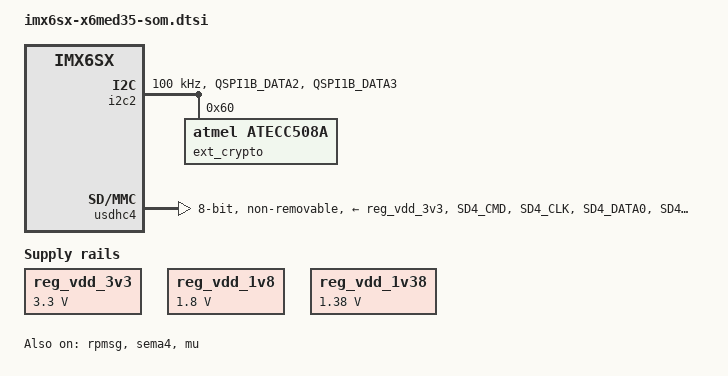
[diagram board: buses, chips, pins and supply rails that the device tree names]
// SPDX-License-Identifier: (GPL-2.0 OR MIT)
/*
 * Copyright (C) 2021 Shrirang Bagul <shrirang.bagul@canonical.com>
 */

/dts-v1/;

#include <dt-bindings/gpio/gpio.h>
#include <dt-bindings/input/input.h>
#include "imx6sx.dtsi"

/ {
	memory@80000000 {
		device_type = "memory";
		linux,usable-memory = <0x80000000 0x1ff00000>;
	};

	ocram_optee {
		compatible = "fsl,optee-lpm-sram";
		reg = <0x008f8000 0x4000>;
		overw_reg = <&ocram 0x00904000 0x1000>,
					<&ocram 0x00905000 0x1b000>,
					<&ocram_s 0x00900000 0x4000>;
		overw_clock = <&ocram_s &clks IMX6SX_CLK_OCRAM>;
	};

	pxp_v4l2_out {
		compatible = "fsl,imx6sx-pxp-v4l2", "fsl,imx6sl-pxp-v4l2";
		status = "okay";
	};

	reserved-memory {
		#address-cells = <1>;
		#size-cells = <1>;
		ranges;

		linux,cma {
			compatible = "shared-dma-pool";
			reusable;
			size = <0x8000000>;
			linux,cma-default;
		};

		m4_reserved {
			reg = <0x9ff00000 0x10000>;
			no-map;
		};

		rpmsg_reserved {
			reg = <0xbff00000 0x10000>;
			no-map;
		};
	};

	reg_vdd_3v3: regulator-vdd-3v3 {
		compatible = "regulator-fixed";
		regulator-always-on;
		regulator-name = "vdd_3v3";
		regulator-min-microvolt = <3300000>;
		regulator-max-microvolt = <3300000>;
	};

	reg_vdd_1v8: regulator-vdd-1v8 {
		compatible = "regulator-fixed";
		regulator-always-on;
		regulator-name = "vdd_1v8";
		regulator-min-microvolt = <1800000>;
		regulator-max-microvolt = <1800000>;
	};

	reg_vdd_1v38: regulator-vdd-1v38 {
		compatible = "regulator-fixed";
		regulator-always-on;
		regulator-name = "vdd_1v38";
		regulator-min-microvolt = <1380000>;
		regulator-max-microvolt = <1380000>;
	};

	rpmsg: rpmsg {
		compatible = "fsl,imx6sx-rpmsg";
		vdev-nums = <1>;
		reg = <0xbff00000 0x10000>;
		status = "okay";
	};

	soc {
		caam_sm: caam-sm@100000 {
			compatible = "fsl,imx6q-caam-sm";
			reg = <0x100000 0x8000>;
		};
	};
};

&aips1 {
	irq_sec_vio: caam_secvio {
		compatible = "fsl,imx6q-caam-secvio";
		interrupts = <GIC_SPI 20 IRQ_TYPE_LEVEL_HIGH>;
		jtag-tamper = "disabled";
		watchdog-tamper = "enabled";
		internal-boot-tamper = "enabled";
		external-pin-tamper = "disabled";
	};

	caam_snvs: caam-snvs@20cc000 {
		compatible = "fsl,imx6q-caam-snvs";
		reg = <0x20cc000 0x4000>;
	};
};

&aips2 {
	qspi_m4: qspi-m4 {
		compatible = "fsl,imx6sx-qspi-m4-restore";
		reg = <0x021e4000 0x4000>;
		status = "disabled";
	};
};

&aips3 {
	sema4: sema4@02290000 { /* sema4 */
		compatible = "fsl,imx6sx-sema4";
		reg = <0x02290000 0x4000>;
		interrupts = <GIC_SPI 116 IRQ_TYPE_LEVEL_HIGH>;
		status = "okay";
	};

	mu: mailbox@02294000 { /* mu */
		compatible = "fsl,imx6sx-mu";
		reg = <0x02294000 0x4000>;
		interrupts = <GIC_SPI 90 IRQ_TYPE_LEVEL_HIGH>;
		status = "okay";
	};
};

&gpc {
	fsl,ldo-bypass = <1>;
};

&i2c2 {
	clock-frequency = <100000>;
	pinctrl-names = "default";
	pinctrl-0 = <&pinctrl_i2c2>;
	status = "okay";

	ext_crypto: extcrypto@60 {
		compatible = "atmel,atecc508a";
		reg = <0x60>;
	};
};

&ocram {
	reg = <0x00901000 0xf000>;
};

&reg_vdd1p1 {
	vin-supply = <&reg_vdd_3v3>;
};

&reg_vdd2p5 {
	vin-supply = <&reg_vdd_3v3>;
};

&reg_arm {
	vin-supply = <&reg_vdd_1v38>;
	regulator-allow-bypass;
};

&reg_soc {
	vin-supply = <&reg_vdd_1v38>;
	regulator-allow-bypass;
};

&usdhc4 {
	pinctrl-names = "default", "state_100mhz", "state_200mhz";
	pinctrl-0 = <&pinctrl_usdhc4>;
	pinctrl-1 = <&pinctrl_usdhc4_100mhz>;
	pinctrl-2 = <&pinctrl_usdhc4_200mhz>;
	bus-width = <8>;
	non-removable;
	no-1-8-v;
	vmmc-supply = <&reg_vdd_3v3>;
	keep-power-in-suspend;
	status = "okay";
};

&iomuxc {
	imx6x-x6med35-som {
		pinctrl_i2c2: i2c2grp {
			fsl,pins = <
				MX6SX_PAD_QSPI1B_DATA2__I2C2_SDA		0x4001b8b1
				MX6SX_PAD_QSPI1B_DATA3__I2C2_SCL		0x4001b8b1
			>;
		};

		pinctrl_usdhc4: usdhc4grp {
			fsl,pins = <
				MX6SX_PAD_SD4_CMD__USDHC4_CMD		0x17059
				MX6SX_PAD_SD4_CLK__USDHC4_CLK		0x10059
				MX6SX_PAD_SD4_DATA0__USDHC4_DATA0	0x17059
				MX6SX_PAD_SD4_DATA1__USDHC4_DATA1	0x17059
				MX6SX_PAD_SD4_DATA2__USDHC4_DATA2	0x17059
				MX6SX_PAD_SD4_DATA3__USDHC4_DATA3	0x17059
				MX6SX_PAD_SD4_DATA4__USDHC4_DATA4	0x17059
				MX6SX_PAD_SD4_DATA5__USDHC4_DATA5	0x17059
				MX6SX_PAD_SD4_DATA6__USDHC4_DATA6	0x17059
				MX6SX_PAD_SD4_DATA7__USDHC4_DATA7	0x17059
			>;
		};

		pinctrl_usdhc4_100mhz: usdhc4grp-100mhz {
			fsl,pins = <
				MX6SX_PAD_SD4_CMD__USDHC4_CMD		0x170b9
				MX6SX_PAD_SD4_CLK__USDHC4_CLK		0x100b9
				MX6SX_PAD_SD4_DATA0__USDHC4_DATA0	0x170b9
				MX6SX_PAD_SD4_DATA1__USDHC4_DATA1	0x170b9
				MX6SX_PAD_SD4_DATA2__USDHC4_DATA2	0x170b9
				MX6SX_PAD_SD4_DATA3__USDHC4_DATA3	0x170b9
				MX6SX_PAD_SD4_DATA4__USDHC4_DATA4	0x170b9
				MX6SX_PAD_SD4_DATA5__USDHC4_DATA5	0x170b9
				MX6SX_PAD_SD4_DATA6__USDHC4_DATA6	0x170b9
				MX6SX_PAD_SD4_DATA7__USDHC4_DATA7	0x170b9
			>;
		};

		pinctrl_usdhc4_200mhz: usdhc4grp-200mhz {
			fsl,pins = <
				MX6SX_PAD_SD4_CMD__USDHC4_CMD		0x170f9
				MX6SX_PAD_SD4_CLK__USDHC4_CLK		0x100f9
				MX6SX_PAD_SD4_DATA0__USDHC4_DATA0	0x170f9
				MX6SX_PAD_SD4_DATA1__USDHC4_DATA1	0x170f9
				MX6SX_PAD_SD4_DATA2__USDHC4_DATA2	0x170f9
				MX6SX_PAD_SD4_DATA3__USDHC4_DATA3	0x170f9
				MX6SX_PAD_SD4_DATA4__USDHC4_DATA4	0x170f9
				MX6SX_PAD_SD4_DATA5__USDHC4_DATA5	0x170f9
				MX6SX_PAD_SD4_DATA6__USDHC4_DATA6	0x170f9
				MX6SX_PAD_SD4_DATA7__USDHC4_DATA7	0x170f9
			>;
		};
	};
};
